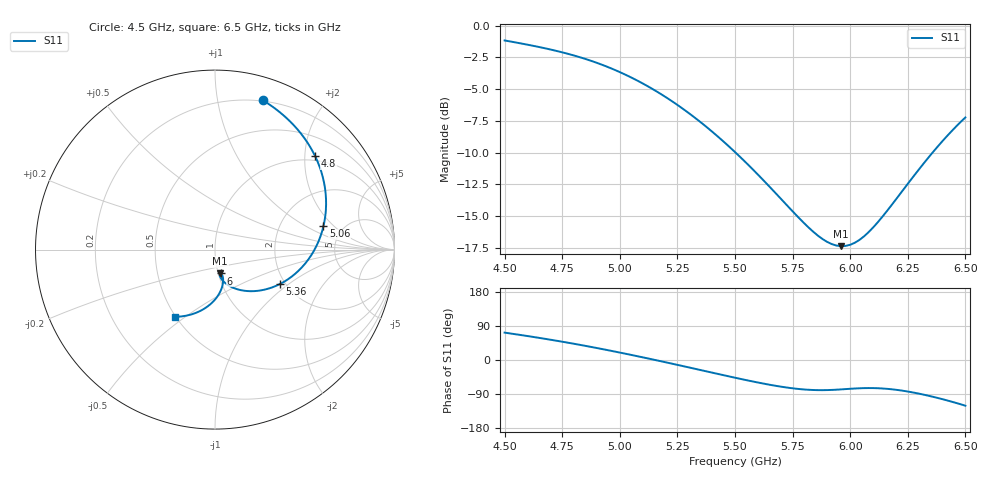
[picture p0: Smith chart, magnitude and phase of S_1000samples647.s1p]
! TOUCHSTONE file generated by CST MICROWAVE STUDIO
! Date and time: Fri Oct 28 21:47:34 2022
! Project name: L.cst
! Parameters = {Di=1.27; Epsilon_r=1.56; InnerDiameter=1.27; Length=2; Lf=10; Lg=60; OuterConductorThickness=0.2921; OuterDiameter=3.6; Wf=3; Wp=41.2; de=1.5; df=6.8; g=0.8; gx=0.665978; gy=2.03871; h=2.34; hf=1.524; px=9.23913; py=9.24022; w=9.7; wx=8.57315; wy=7.20151}
! Header version: 2018
! Port assignment regex: !\s*Touchstone port\s*([0-9]+)\s*=\s*(CST MWS port|CST DS port)\s*([0-9]+|Zmin|Zmax)\s*\(\"(.*)\"\)(\s*mode\s*([0-9]+))?.*
! Touchstone port assignment:
! Touchstone port 1 = CST MWS port 1 ("")
# GHz S DB R 50
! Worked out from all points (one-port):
!   101 points, 4.5 GHz to 6.5 GHz, reference 50 ohm
!   lowest |S11| = -17.4 dB at 5.96 GHz (marker M1), VSWR 1.31, Z = 51.1 - j13.8 ohm
!   |S11| at or under -10 dB: 5.502 GHz to 6.357 GHz (855 MHz wide, 14.4 % of centre)
!   S11 on the Smith chart (normalised r, x): 4.5 GHz: 0.19, +1.35; 4.8 GHz: 0.90, +2.24; 5.06 GHz: 3.56, +1.49; 5.36 GHz: 1.88, -0.86; 6 GHz: 1.03, -0.28; 6.5 GHz: 0.50, -0.46
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4.5  -1.17 72.2
4.58  -1.44 65.0
4.64  -1.66 59.3
4.76  -2.16 47.2
4.8  -2.35 42.9
4.9  -2.93 31.6
5  -3.67 19.6
5.06  -4.18 12.1
5.16  -5.19 -0.8
5.26  -6.37 -14.2
5.36  -7.74 -27.8
5.42  -8.65 -36.0
5.5  -9.96 -46.7
5.56  -11.01 -54.5
5.64  -12.49 -64.1
5.76  -14.81 -75.4
5.88  -16.80 -79.6
5.92  -17.20 -78.9
5.96  -17.36 -77.6
6  -17.25 -76.0
6.04  -16.87 -74.6
6.1  -15.88 -74.1
6.18  -14.12 -77.2
6.26  -12.22 -84.3
6.32  -10.83 -91.6
6.38  -9.52 -100.2
6.44  -8.32 -109.9
6.5  -7.23 -120.6
